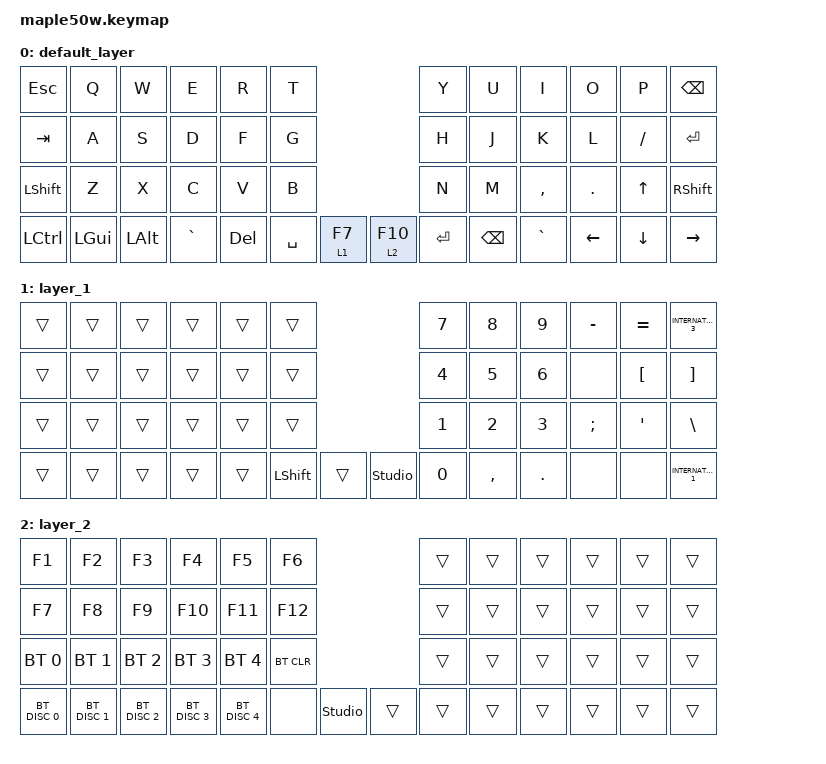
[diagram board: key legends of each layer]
/*
 * Copyright (c) 2020 The ZMK Contributors
 *
 * SPDX-License-Identifier: MIT
 */

#include <behaviors.dtsi>
#include <dt-bindings/zmk/bt.h>
#include <dt-bindings/zmk/keys.h>

/ {
    combos {
        compatible = "zmk,combos";

        prtsc {
            bindings = <&kp PRINTSCREEN>;
            key-positions = <10 11>;
        };
    };

    keymap {
        compatible = "zmk,keymap";

        default_layer {
            bindings = <
&kp ESC     &kp Q     &kp W     &kp E      &kp R    &kp T                           &kp Y      &kp U     &kp I      &kp O     &kp P      &kp BSPC
&kp TAB     &kp A     &kp S     &kp D      &kp F    &kp G                           &kp H      &kp J     &kp K      &kp L     &kp SLASH  &kp ENTER
&kp LSHIFT  &kp Z     &kp X     &kp C      &kp V    &kp B                           &kp N      &kp M     &kp COMMA  &kp DOT   &kp UP     &kp RSHIFT
&kp LCTRL   &kp LGUI  &kp LALT  &kp GRAVE  &kp DEL  &kp SPACE  &lt 1 F7  &lt 2 F10  &kp ENTER  &kp BSPC  &kp GRAVE  &kp LEFT  &kp DOWN   &kp RIGHT
            >;
        };

        layer_1 {
            bindings = <
&trans  &trans  &trans  &trans  &trans  &trans                                  &kp NUMBER_7  &kp NUMBER_8  &kp NUMBER_9  &kp MINUS      &kp EQUAL         &kp INTERNATIONAL_3
&trans  &trans  &trans  &trans  &trans  &trans                                  &kp NUMBER_4  &kp NUMBER_5  &kp NUMBER_6  &none          &kp LEFT_BRACKET  &kp RIGHT_BRACKET
&trans  &trans  &trans  &trans  &trans  &trans                                  &kp NUMBER_1  &kp NUMBER_2  &kp NUMBER_3  &kp SEMICOLON  &kp SINGLE_QUOTE  &kp BSLH
&trans  &trans  &trans  &trans  &trans  &kp LEFT_SHIFT  &trans  &studio_unlock  &kp NUMBER_0  &kp COMMA     &kp DOT       &none          &none             &kp INTERNATIONAL_1
            >;
        };

        layer_2 {
            bindings = <
&kp F1         &kp F2         &kp F3         &kp F4         &kp F5         &kp F6                              &trans  &trans  &trans  &trans  &trans  &trans
&kp F7         &kp F8         &kp F9         &kp F10        &kp F11        &kp F12                             &trans  &trans  &trans  &trans  &trans  &trans
&bt BT_SEL 0   &bt BT_SEL 1   &bt BT_SEL 2   &bt BT_SEL 3   &bt BT_SEL 4   &bt BT_CLR                          &trans  &trans  &trans  &trans  &trans  &trans
&bt BT_DISC 0  &bt BT_DISC 1  &bt BT_DISC 2  &bt BT_DISC 3  &bt BT_DISC 4  &none       &studio_unlock  &trans  &trans  &trans  &trans  &trans  &trans  &trans
            >;
        };
    };
};
